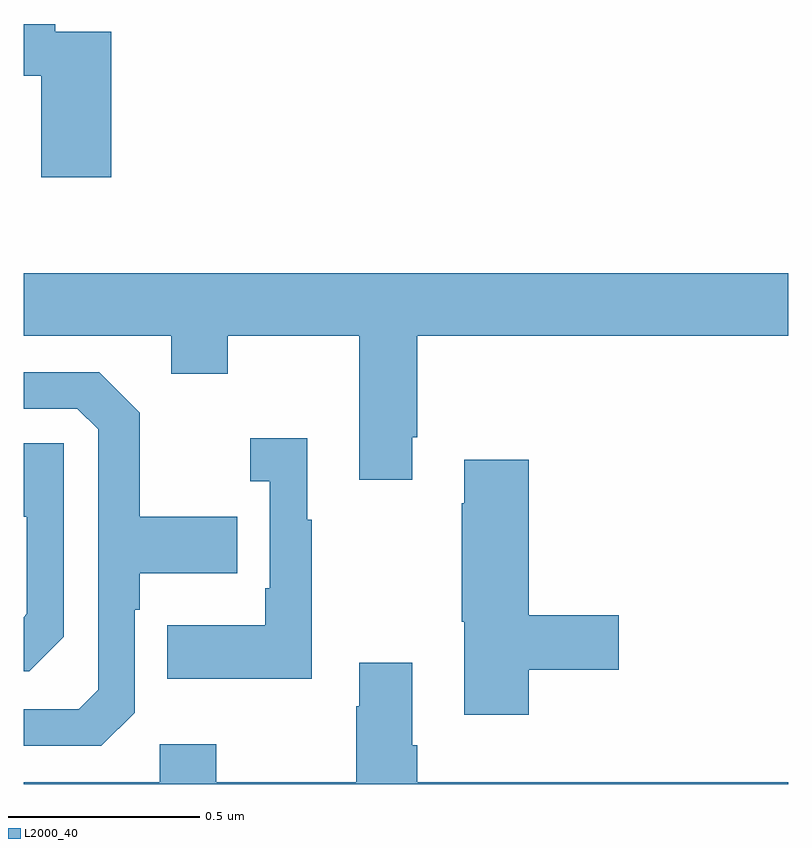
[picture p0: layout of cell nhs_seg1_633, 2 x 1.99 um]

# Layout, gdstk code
import gdstk
lib = gdstk.Library(unit=1e-6, precision=1e-09)
def P(c, l, *ps):  # polygons
    for p in ps: c.add(gdstk.Polygon(p, *l))
L2000_40 = (2000, 40)

nhs_seg1_633 = lib.new_cell('nhs_seg1_633')
P(nhs_seg1_633, L2000_40, [(118.229,579.168),(118.082,579.168),(118.082,579.188),(118,579.188),(118,579.052),(118.046,579.052),(118.046,578.787),(118.229,578.787)],
  [(119.017,578.107),(119.03,578.107),(119.03,578.372),(120,578.372),(120,578.536),(118,578.536),(118,578.372),(118.385,578.372),(118.385,578.273),(118.533,578.273),(118.533,578.372),(118.877,578.372),(118.877,577.995),(119.017,577.995)],
  [(118.29,577.386),(118.29,577.655),(118.303,577.655),(118.303,577.751),(118.559,577.751),(118.559,577.899),(118.303,577.899),(118.303,578.171),(118.197,578.277),(118,578.277),(118,578.181),(118.14,578.181),(118.194,578.127),(118.194,577.446),(118.143,577.395),(118,577.395),(118,577.299),(118.203,577.299)],
  [(118.753,577.891),(118.741,577.891),(118.741,578.104),(118.593,578.104),(118.593,577.991),(118.644,577.991),(118.644,577.711),(118.632,577.711),(118.632,577.615),(118.375,577.615),(118.375,577.475),(118.753,577.475)],
  [(118.104,577.584),(118.104,578.091),(118,578.091),(118,577.898),(118.008,577.898),(118.008,577.644),(118,577.636),(118,577.494),(118.014,577.494)],
  [(119.321,577.498),(119.557,577.498),(119.557,577.64),(119.321,577.64),(119.321,578.047),(119.153,578.047),(119.153,577.934),(119.146,577.934),(119.146,577.623),(119.153,577.623),(119.153,577.38),(119.321,577.38)],
  [(120,577.204),(119.03,577.204),(119.03,577.3),(119.017,577.3),(119.017,577.516),(118.877,577.516),(118.877,577.403),(118.87,577.403),(118.87,577.204),(118.503,577.204),(118.503,577.303),(118.356,577.303),(118.356,577.204),(118,577.204),(118,577.199),(120,577.199)])

lib.write_gds('nhs_seg1_633.gds')
